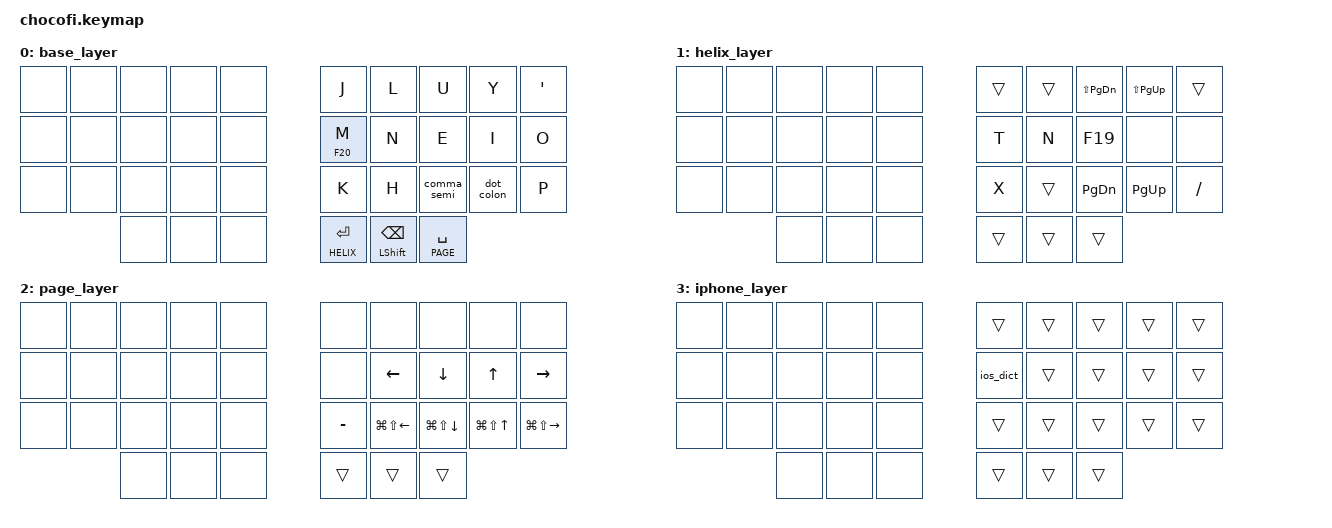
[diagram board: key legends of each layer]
/*
 * Chocofi right-half: Handy remote + Helix DayPage + Kindle clicker
 *
 * Standalone BLE (CONFIG_ZMK_SPLIT=n). Right half only.
 * Temper/Totem muscle memory on the keys that exist on this half.
 *
 *     0  1  2  3  4 |  5  6  7  8  9      J L U Y '
 *    10 11 12 13 14 | 15 16 17 18 19      M N E I O
 *    20 21 22 23 24 | 25 26 27 28 29      K H , . p
 *             30 31 32 | 33 34 35         Enter  Bspc  Space
 *
 * Thumbs (desk: split-edge on the left of this half):
 *   Inner  (33) tap Enter, hold HELIX
 *   Middle (34) tap Backspace, hold Shift
 *   Outer  (35) tap Space, hold PAGE
 *
 * Handy: hold M (hold-preferred 200 ms, quick-tap-ms 175) = F20 on BASE.
 * On IPHONE (locked by the iPhone host combo), tap M = double LCTRL.
 * N is a plain letter. No combos on N (ZMK combos cannot auto-repeat).
 *
 * Hosts: outer thumb (PAGE) + ' + J / L / U (iPhone / nimbini / Mac).
 * Combos, not bare keys - Space+l/U/y are Helix leader bindings.
 * iPhone also &to IPHONE, so M is iOS dictation (double LCTRL) not F20.
 * nimbini/Mac &to BASE, restoring hold-M Handy.
 *
 * Boot default: letter base (nimbini slot is the intended pair).
 * Kindle arrows: hold outer thumb (PAGE), not a hidden default layer.
 *
 * Bootloader: hold inner (HELIX) then Y+' — not on BASE (Urchin 2-key
 * BASE bootloader combos crashed on boot). Hardware double-tap reset
 * remains the recovery path.
 */

#include <behaviors.dtsi>
#include <dt-bindings/zmk/keys.h>
#include <dt-bindings/zmk/bt.h>

#define BASE  0
#define HELIX 1
#define PAGE  2
#define IPHONE 3

#define QUICK_TAP_MS 175

/ {
    behaviors {
        thumb_lt: thumb_layer_tap {
            compatible = "zmk,behavior-hold-tap";
            #binding-cells = <2>;
            /* hold-preferred: inner hold must reach HELIX (F19 cancel, bootloader) */
            flavor = "hold-preferred";
            tapping-term-ms = <180>;
            quick-tap-ms = <QUICK_TAP_MS>;
            bindings = <&mo>, <&kp>;
        };

        /* The OUTER thumb is Space, and Helix uses Space as its leader key.
         * Under hold-preferred a slightly slow Space commits to the layer the
         * moment the tapping term expires, so Space+U - the DayPage flush -
         * became PAGE+U, which is &host_mac: the board silently jumps to the
         * Mac BT profile and presents as "the keyboard has stopped working".
         * Space+J (iPhone) and Space+' (bootloader) were the same hazard.
         *
         * tap-preferred resolves a letter pressed during the tapping term as
         * a TAP, so Space+<letter> is always Space then letter. A bare hold
         * with no other key still reaches PAGE, so the layer is unaffected.
         * The INNER thumb keeps hold-preferred: it must reach HELIX. */
        page_lt: page_layer_tap {
            compatible = "zmk,behavior-hold-tap";
            #binding-cells = <2>;
            /* balanced + positional, settled 2026-08-31 by measurement.
             *
             * tap-preferred (2026-08-28) fixed the Space+U hazard but made the
             * thumb ROLL-SENSITIVE: the hold arrives only on term expiry, so a
             * letter pressed before 180 ms left the thumb resolving as a TAP -
             * you got a bare Space and the letter was swallowed. That is what
             * presented for a whole evening as "position 16 is dead". It never
             * was: pressed deliberately, outer thumb + N emits correctly.
             *
             * balanced takes the hold when another key is pressed AND released
             * while the thumb is held, so a fast roll now reaches PAGE instead
             * of emitting Space.
             *
             * hold-trigger-key-positions keeps the guard: only the NAV ROWS may
             * promote this thumb to a hold. 5/6/7 - J/L/U, the host-select keys
             * - are deliberately ABSENT, so Space+J/L/U still resolves as a tap
             * and the Mac-profile hazard stays shut.
             *
             * NOT hold-preferred: that commits to the layer on ANY key press,
             * which is the original 2026-08-28 hazard. Tried 4ce83e6, reverted.
             * See ~/Assistants/skills/zmk/references/urob-patterns.md */
            flavor = "balanced";
            tapping-term-ms = <180>;
            quick-tap-ms = <QUICK_TAP_MS>;
            hold-trigger-key-positions = <15 16 17 18 19 25 26 27 28 29>;
            bindings = <&mo>, <&kp>;
        };

        thumb_mt: thumb_mod_tap {
            compatible = "zmk,behavior-hold-tap";
            #binding-cells = <2>;
            flavor = "tap-preferred";
            tapping-term-ms = <200>;
            quick-tap-ms = <QUICK_TAP_MS>;
            bindings = <&kp>, <&kp>;
        };

        /* HANDY LIVES ON M, NOT N (2026-08-30, Will's design).
         *
         * Why it moved. A hold-tap NEVER sends its tap on key-down - the tap
         * is synthesised on RELEASE, and any press past the tapping term
         * becomes the hold instead. On N that was intolerable twice over:
         * N is the constant Helix left-motion, so every left-move was delayed
         * and a merely lazy tap silently became a Handy toggle with no `n`;
         * and raising the term to fix that made dictation - the board's MAIN
         * FUNCTION - wait 400 ms before it would start.
         *
         * M is the right key to spend. On this board the BASE letters are
         * Helix commands, and `m` is only the rarely-used match prefix, while
         * `n` is pressed constantly. So M carries the hold-tap and N goes back
         * to a plain &kp, sent on key-down with no term at all.
         *
         * 200 ms, deliberately short: this is the dictation trigger and it
         * should feel immediate. Measured tap durations on this board's plain
         * keys are ~90-120 ms, so a normal `m` still resolves as a tap.
         *
         * (An earlier version of this comment claimed the move would also test
         * a "dead position 16 tracks the hold-tap" hypothesis. That hypothesis
         * was refuted on 2026-08-31 - position 16 was never dead. M remains
         * the right home for the hold-tap on its own merits: `m` is the rare
         * match prefix here, `n` is the constant Helix left-motion.)
         * See ~/Assistants/shared/ZMK-HANDY-REMOTE-LESSONS.md */
        m_handy: m_handy_tap {
            compatible = "zmk,behavior-hold-tap";
            #binding-cells = <2>;
            /* 🚨 NOT tap-preferred + require-prior-idle-ms. Tried 2026-08-31
             * and it reproduced a failure already recorded in
             * ZMK-HANDY-REMOTE-LESSONS.md rule 2: prior-idle forces the TAP,
             * and continuing to hold then leaves the tap binding pressed, so
             * the host OS-repeats the letter - `mmmmmmm` and no beep. */
            flavor = "hold-preferred";
            tapping-term-ms = <200>;
            quick-tap-ms = <QUICK_TAP_MS>;
            bindings = <&kp>, <&kp>;
        };

        comma_semi: comma_semi_morph {
            compatible = "zmk,behavior-mod-morph";
            #binding-cells = <0>;
            bindings = <&kp COMMA>, <&kp SEMI>;
            mods = <(MOD_LSFT|MOD_RSFT)>;
        };

        dot_colon: dot_colon_morph {
            compatible = "zmk,behavior-mod-morph";
            #binding-cells = <0>;
            bindings = <&kp DOT>, <&kp COLON>;
            mods = <(MOD_LSFT|MOD_RSFT)>;
        };
    };

    macros {
        /* iOS hardware-keyboard dictation: double-press Control.
         * Settings → General → Keyboard → Enable Dictation, and
         * Dictation Shortcut = Control. One tap of M on the IPHONE
         * layer is start/stop. No beep — the waveform is the cue.
         * Apple's double-press window is ~300 ms; 80 ms between taps
         * is distinct without missing the window. */
        ios_dict: ios_dict {
            compatible = "zmk,behavior-macro";
            #binding-cells = <0>;
            wait-ms = <80>;
            tap-ms = <40>;
            bindings = <&kp LCTRL>, <&kp LCTRL>;
        };

        host_iphone: host_iphone {
            compatible = "zmk,behavior-macro";
            #binding-cells = <0>;
            bindings
                = <&macro_tap &bt BT_SEL 0>
                , <&macro_tap &to IPHONE>;
        };

        host_nimbini: host_nimbini {
            compatible = "zmk,behavior-macro";
            #binding-cells = <0>;
            bindings
                = <&macro_tap &bt BT_SEL 1>
                , <&macro_tap &to BASE>;
        };

        host_mac: host_mac {
            compatible = "zmk,behavior-macro";
            #binding-cells = <0>;
            bindings
                = <&macro_tap &bt BT_SEL 2>
                , <&macro_tap &to BASE>;
        };
    };

    combos {
        compatible = "zmk,combos";

        combo_esc_right {
            timeout-ms = <50>;
            key-positions = <8 9>;
            bindings = <&kp ESC>;
            layers = <BASE>;
        };

        combo_colon {
            timeout-ms = <40>;
            key-positions = <5 6>;
            bindings = <&kp COLON>;
            layers = <BASE>;
        };

        combo_colon_vert {
            timeout-ms = <40>;
            key-positions = <18 28>;
            bindings = <&kp COLON>;
            layers = <BASE>;
        };

        /* Bond clear, moved off a bare key 2026-08-28, then off the HOME row
         * later the same day: 15 is `t` (insert mode, pressed constantly) and
         * 19 became F19, so a roll between them would have wiped every bond.
         * Now the two ENDS of the BOTTOM row - inner thumb held plus index and
         * pinky spread across the row. Three deliberate actions, and nowhere
         * near anything pressed while reading. */
        combo_bt_clr {
            timeout-ms = <60>;
            key-positions = <25 29>;
            bindings = <&bt BT_CLR_ALL>;
            layers = <HELIX>;
        };

        /* HOST SELECT, moved off single keys 2026-08-31 after a second
         * accidental profile switch and a full re-pair.
         *
         * The old bindings sat on PAGE + J / L / U as BARE KEYS, and three of
         * those five top-row keys are live Helix leader bindings:
         *   Space+l = clipboard paste
         *   Space+U = DAYPAGE FLUSH   <- the one that kept biting
         *   Space+y = clipboard copy
         * So a mistimed leader sequence could silently move the board to
         * another host, which presents as "the keyboard has stopped working".
         * Positional hold-tap guards the ROLL but cannot guard a thumb already
         * held past its term, so the bare keys had to go.
         *
         * Now: inner thumb NOT involved - hold the OUTER thumb (PAGE), then
         * press the PINKY (') together with the old letter. Two keys at
         * opposite ends of the row plus a held thumb: three deliberate
         * actions, unrollable, and the letters alone now do nothing.
         *
         *   PAGE + ' + J  -> iPhone   (profile 0, &to IPHONE so M = dictation)
         *   PAGE + ' + L  -> nimbini  (profile 1, &to BASE)
         *   PAGE + ' + U  -> Mac      (profile 2, &to BASE)
         */
        combo_host_iphone {
            timeout-ms = <50>;
            key-positions = <9 5>;
            bindings = <&host_iphone>;
            layers = <PAGE>;
        };

        combo_host_nimbini {
            timeout-ms = <50>;
            key-positions = <9 6>;
            bindings = <&host_nimbini>;
            layers = <PAGE>;
        };

        combo_host_mac {
            timeout-ms = <50>;
            key-positions = <9 7>;
            bindings = <&host_mac>;
            layers = <PAGE>;
        };

        /* Esc while inner held (HELIX). Not a BASE 2-key bootloader. */
        combo_bootloader {
            timeout-ms = <80>;
            key-positions = <8 9>;
            bindings = <&bootloader>;
            layers = <HELIX>;
        };
    };

    keymap {
        compatible = "zmk,keymap";

        base_layer {
            bindings = <
                &none  &none  &none  &none  &none      &kp J  &kp L  &kp U  &kp Y  &kp SQT
                &none  &none  &none  &none  &none      &m_handy F20 M  &kp N  &kp E  &kp I  &kp O
                &none  &none  &none  &none  &none      &kp K  &kp H  &comma_semi  &dot_colon  &kp P
                                &none  &none  &none      &thumb_lt HELIX RET  &thumb_mt LSHFT BSPC  &page_lt PAGE SPACE
            >;
        };

        /* GUARDED 2026-08-28. Position 19 (under O) was a bare &bt BT_CLR_ALL:
         * one unmodified tap wiping ALL BLE bonds, two keys from the F19 used
         * for Handy cancel. It is NOT removed - it is the only in-band bond
         * clear, and lacking one cost an afternoon on 2026-08-27 - it moved to
         * combo_bt_clr, which needs the inner thumb held AND both ends of a row
         * at once. It moved again the same day, to positions 25+29 (K+P on
         * the BOTTOM row) - see the combo itself.
         * See ~/Assistants/shared/ZMK-HANDY-REMOTE-LESSONS.md */
        /* HELIX, right hand:
         *   M -> t            enter INSERT (t is a LEFT-hand key in Colemak-DH,
         *                     so this is the only route to insert from this half)
         *   N -> n            plain letter, bypassing the F20 hold-tap
         *   E -> F19          Handy cancel
         *   , -> PgDn          scroll DOWN  ] BARE page keys, handled by the
         *   . -> PgUp          scroll UP    ] APPLICATION
         *   U -> Shift+PgDn    scroll DOWN  ] WezTerm scrollback, handled by
         *   Y -> Shift+PgUp    scroll UP    ] the TERMINAL
         *
         * COLUMN DISCIPLINE: down/up ALWAYS live on the middle and ring
         * columns, on every board and every layer - E/I on the home row,
         * , /. on the bottom row, and now U/Y on the top row. An earlier
         * version of this put the terminal pair on I/O, which made I mean
         * DOWN when it means UP everywhere else. Do not do that again.
         *
         * 🚨 TWO PAIRS, MEASURED 2026-08-31 — NEITHER IS UNIVERSAL. The old
         * comment here claimed Shift+Page* was "identical in Claude Code,
         * Codex and Grok". That was reasoned, not tested, and it is FALSE:
         *
         *              Shift+Page (terminal)   bare Page (application)
         *   Codex            WORKS                    fails
         *   Claude Code      fails                    WORKS
         *   Grok             fails                    WORKS
         *
         * The split is the ALTERNATE SCREEN. Codex renders into the normal
         * buffer, so WezTerm's scrollback is real and its Shift+Page key
         * assignment has something to move. Claude Code and Grok hold the alt
         * screen, where that scrollback is frozen - and because WezTerm
         * CONSUMES the key for its own assignment, it never reaches them
         * either. Bare page keys bypass the terminal and let each app scroll
         * itself.
         *
         * BARE gets , and . because that is what the Totem and Temper NAV
         * layers already send on those same two physical keys - one meaning
         * system-wide - and because it covers three tools to Codex's one.
         * Shift+Page moves to I and O, which were &none. Deliberately NOT u
         * or y: those are &trans here and fall through to Helix undo/yank.
         *   K -> x, P -> /    extend-line, search
         *
         * SCROLL IS ON , AND . ON PURPOSE, not on E/I. Across the whole system
         * E/I mean "down/up by LINE" (the NAV/PAGE arrow rows) and , /. mean
         * "down/up by PAGE" (the Totem's NAV layer). Putting paging on E/I
         * would make those two keys mean both granularities depending on which
         * thumb is held. Keep the system-wide assignment. */
        helix_layer {
            bindings = <
                &none  &none  &none  &none  &none      &trans  &trans  &kp LS(PG_DN)  &kp LS(PG_UP)  &trans
                &none  &none  &none  &none  &none      &kp T   &kp N  &kp F19  &none  &none
                &none  &none  &none  &none  &none      &kp X   &trans  &kp PG_DN  &kp PG_UP  &kp FSLH
                                &none  &none  &none      &trans  &trans  &trans
            >;
        };

        /* GUARDED 2026-08-28. Position 9 (under ') was a bare &bootloader:
         * one unmodified tap rebooting into the UF2 bootloader, immediately
         * beside the host-select keys in daily use. Now &none. The bootloader
         * is still reachable, deliberately, via combo_bootloader on HELIX
         * (inner thumb held, then Y+'). */
        /* Bottom row is niri window focus, in the SAME COLUMNS as the arrows
         * directly above it: Mod+Shift+Left/Down/Up/Right. Lets the right
         * half alone move focus between windows without reaching for the pair.
         *
         * MINUS moved from H to K (position 25). Column 1 on the bottom row is
         * the index finger's down-AND-inward reach - the worst key on the
         * board, which is why the arrow row leaves position 15 empty. The rare
         * binding gets the awkward key; the four new ones get comfortable
         * columns and align with N E I O above. */
        /* ✅ RESOLVED 2026-08-31 — THE `N` SWITCH HAD FAILED. Nothing here
         * was ever wrong. This block previously claimed position 16 did not
         * work on this layer; it was a hardware fault producing 0.1 ms phantom
         * presses (46 of 70 under 25 ms, four phantom `U` — its own matrix
         * column-neighbour). Switch replaced, no firmware change, left-arrow
         * then gave 14 clean bare events at 75-120 ms.
         *
         * 🚨 Before theorising about firmware for a key that "sometimes"
         * works, COUNT IT: ~40 presses of the suspect key and ~40 of a
         * neighbour with `chocofi-trace`. Presses under 25 ms, gaps under
         * 60 ms, or phantoms from the same matrix row/column mean hardware.
         * See ~/Assistants/shared/ZMK-HANDY-REMOTE-LESSONS.md */
        page_layer {
            bindings = <
                &none  &none  &none  &none  &none      &none  &none  &none  &none  &none
                &none  &none  &none  &none  &none      &none  &kp LEFT  &kp DOWN  &kp UP  &kp RIGHT
                &none  &none  &none  &none  &none      &kp MINUS  &kp LG(LS(LEFT))  &kp LG(LS(DOWN))  &kp LG(LS(UP))  &kp LG(LS(RIGHT))
                                &none  &none  &none      &trans  &trans  &trans
            >;
        };

        /* IPHONE: locked by host_iphone (&to). Highest layer, so it wins
         * over BASE for any non-trans position. Only M is rebound:
         * ios_dict (double LCTRL) instead of hold-M F20, which iOS
         * ignores. Everything else, including thumbs, &trans through
         * to BASE, so PAGE host-select and HELIX still work.
         *
         * Urchin's iPhone layer did NOT have this — N/O were arrows
         * only. Added 2026-09-01 so hold/tap M starts iOS dictation
         * with the same finger as Handy on the computers.
         *
         * Leave this layer with &to BASE (nimbini/Mac combos) or M
         * keeps sending Control-Control to those hosts. */
        iphone_layer {
            bindings = <
                &none  &none  &none  &none  &none      &trans  &trans  &trans  &trans  &trans
                &none  &none  &none  &none  &none      &ios_dict  &trans  &trans  &trans  &trans
                &none  &none  &none  &none  &none      &trans  &trans  &trans  &trans  &trans
                                &none  &none  &none      &trans  &trans  &trans
            >;
        };
    };
};
